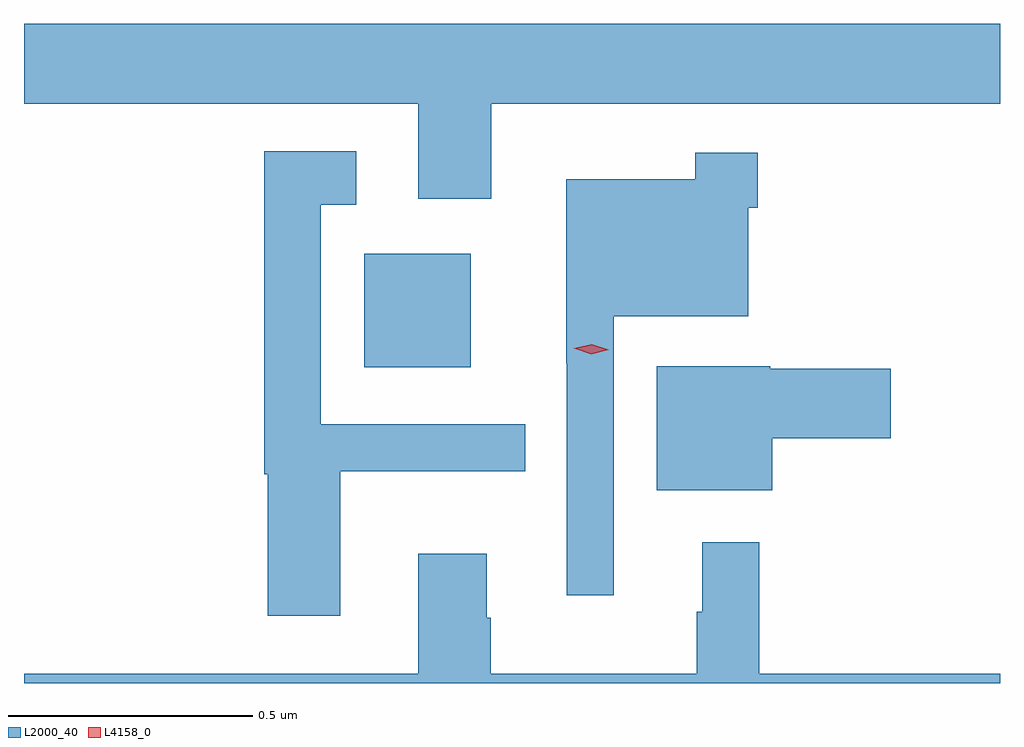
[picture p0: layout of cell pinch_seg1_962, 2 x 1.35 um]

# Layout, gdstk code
import gdstk
lib = gdstk.Library(unit=1e-6, precision=1e-09)
def R(c, l, rs):  # rectangles x0, y0, x1, y1
    for r in rs: c.add(gdstk.rectangle(r[:2], r[2:], *l))
def P(c, l, *ps):  # polygons
    for p in ps: c.add(gdstk.Polygon(p, *l))
L2000_40 = (2000, 40)
L4158_0 = (4158, 0)

pinch_seg1_962 = lib.new_cell('pinch_seg1_962')
R(pinch_seg1_962, L2000_40, [(196.844,521.888,197.062,522.121)])
P(pinch_seg1_962, L2000_40, [(197.104,522.428),(198.147,522.428),(198.147,522.592),(196.147,522.592),(196.147,522.428),(196.955,522.428),(196.955,522.234),(197.104,522.234)],
  [(196.795,521.675),(197.174,521.675),(197.174,521.772),(196.755,521.772),(196.755,522.221),(196.828,522.221),(196.828,522.331),(196.639,522.331),(196.639,521.669),(196.646,521.669),(196.646,521.379),(196.795,521.379)],
  [(197.355,521.993),(197.631,521.993),(197.631,522.215),(197.651,522.215),(197.651,522.328),(197.523,522.328),(197.523,522.274),(197.258,522.274),(197.258,521.897),(197.259,521.897),(197.259,521.421),(197.355,521.421)],
  [(197.68,521.743),(197.923,521.743),(197.923,521.885),(197.676,521.885),(197.676,521.89),(197.444,521.89),(197.444,521.636),(197.68,521.636)],
  [(198.147,521.26),(197.654,521.26),(197.654,521.53),(197.537,521.53),(197.537,521.387),(197.526,521.387),(197.526,521.26),(197.103,521.26),(197.103,521.375),(197.095,521.375),(197.095,521.506),(196.955,521.506),(196.955,521.26),(196.147,521.26),(196.147,521.241),(198.147,521.241)])
P(pinch_seg1_962, L4158_0, [(197.309,521.915),(197.274,521.927),(197.273,521.927),(197.274,521.927),(197.31,521.935),(197.345,521.924),(197.345,521.924),(197.345,521.924)])

lib.write_gds('pinch_seg1_962.gds')
